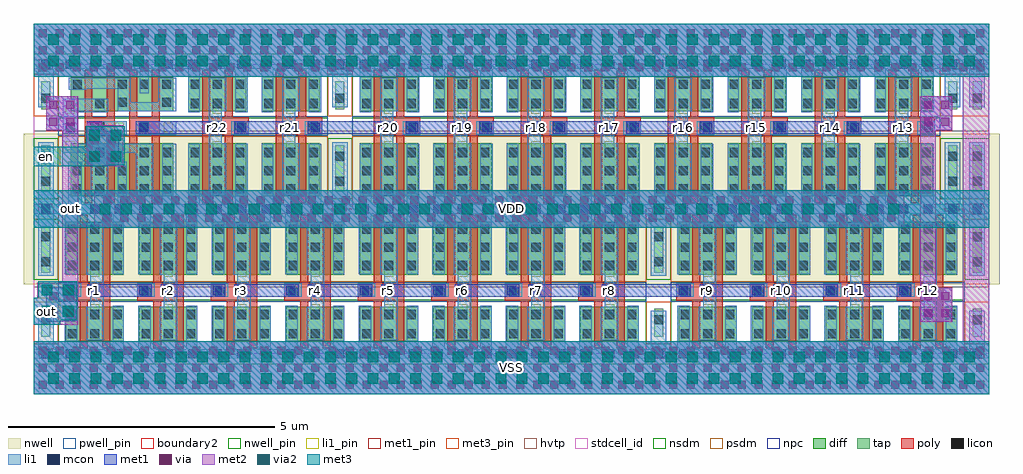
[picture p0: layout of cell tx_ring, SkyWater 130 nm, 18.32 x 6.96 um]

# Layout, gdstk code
from math import pi, radians
import gdstk
lib = gdstk.Library(unit=1e-6, precision=1e-09)
def R(c, l, rs):  # rectangles x0, y0, x1, y1
    for r in rs: c.add(gdstk.rectangle(r[:2], r[2:], *l))
def A(c, l, x, y, w, h, nx, ny, dx, dy):  # array of equal rectangles
    R(c, l, [(x+i*dx, y+j*dy, x+i*dx+w, y+j*dy+h) for i in range(nx) for j in range(ny)])
def P(c, l, *ps):  # polygons
    for p in ps: c.add(gdstk.Polygon(p, *l))
nwell_pin = (64, 16)
nwell = (64, 20)
diff = (65, 20)
tap = (65, 44)
poly = (66, 20)
licon = (66, 44)
li1_pin = (67, 16)
li1 = (67, 20)
mcon = (67, 44)
met1_pin = (68, 16)
met1 = (68, 20)
via = (68, 44)
met2 = (69, 20)
via2 = (69, 44)
met3_pin = (70, 16)
met3 = (70, 20)
hvtp = (78, 44)
stdcell_id = (81, 4)
nsdm = (93, 44)
psdm = (94, 20)
npc = (95, 20)
pwell_pin = (122, 16)
boundary2 = (236, 0)

sky130_fd_sc_hd__tapvpwr = lib.new_cell('sky130_fd_sc_hd__tapvpwrvgnd_1')
R(sky130_fd_sc_hd__tapvpwr, nwell, [(-0.19,1.305,0.65,2.91)])
R(sky130_fd_sc_hd__tapvpwr, tap, [(0.145,0.32,0.315,0.845), (0.145,1.525,0.315,2.4)])
R(sky130_fd_sc_hd__tapvpwr, licon, [(0.145,0.555,0.315,0.725), (0.145,1.645,0.315,1.815), (0.145,2.11,0.315,2.28)])
R(sky130_fd_sc_hd__tapvpwr, li1, [(0,-0.085,0.46,0.085), (0.085,0,0.375,0.81), (0.085,1.47,0.375,2.72), (0,2.635,0.46,2.805)])
R(sky130_fd_sc_hd__tapvpwr, mcon, [(0.145,-0.085,0.315,0.085), (0.145,2.635,0.315,2.805)])
R(sky130_fd_sc_hd__tapvpwr, met1_pin, [(0.105,-0.09,0.36,0.1), (0.11,2.62,0.375,2.765)])
R(sky130_fd_sc_hd__tapvpwr, met1, [(0,-0.24,0.46,0.24), (0,2.48,0.46,2.96)])
R(sky130_fd_sc_hd__tapvpwr, hvtp, [(0,1.25,0.46,2.72)])
R(sky130_fd_sc_hd__tapvpwr, stdcell_id, [(0,0,0.46,2.72)])
R(sky130_fd_sc_hd__tapvpwr, nsdm, [(0,-0.19,0.46,0.19), (0,1.395,0.46,2.53)])
R(sky130_fd_sc_hd__tapvpwr, psdm, [(0,0.19,0.46,0.975), (0,2.53,0.46,2.91)])
sky130_fd_sc_hd__tapvpwr.add(gdstk.Label('VPWR', (0.23,2.72), layer=68, texttype=5))
sky130_fd_sc_hd__tapvpwr.add(gdstk.Label('VGND', (0.23,0), layer=68, texttype=5))
sky130_fd_sc_hd__tapvpwr.add(gdstk.Label('tapvpwrvgnd_1', (0,0), layer=83, texttype=44))

sky130_fd_sc_hd__inv_2 = lib.new_cell('sky130_fd_sc_hd__inv_2')
R(sky130_fd_sc_hd__inv_2, nwell_pin, [(0.145,2.635,0.315,2.805)])
R(sky130_fd_sc_hd__inv_2, nwell, [(-0.19,1.305,1.57,2.91)])
R(sky130_fd_sc_hd__inv_2, diff, [(0.145,0.235,1.235,0.885), (0.145,1.485,1.235,2.485)])
P(sky130_fd_sc_hd__inv_2, poly, [(0.405,0.105),(0.405,0.995),(0.105,0.995),(0.105,1.325),(0.405,1.325),(0.405,2.615),(0.555,2.615),(0.555,1.325),(0.825,1.325),(0.825,2.615),(0.975,2.615),(0.975,0.105),(0.825,0.105),(0.825,0.995),(0.555,0.995),(0.555,0.105)])
A(sky130_fd_sc_hd__inv_2, licon, 0.185, 0.295, 0.17, 0.17, 3, 2, 0.42, 0.36)
A(sky130_fd_sc_hd__inv_2, licon, 0.185, 1.575, 0.17, 0.17, 3, 3, 0.42, 0.34)
R(sky130_fd_sc_hd__inv_2, licon, [(0.185,1.075,0.355,1.245)])
A(sky130_fd_sc_hd__inv_2, li1_pin, 0.605, 0.765, 0.17, 0.17, 1, 3, 0, 0.34)
R(sky130_fd_sc_hd__inv_2, li1_pin, [(0.145,1.105,0.315,1.275)])
R(sky130_fd_sc_hd__inv_2, li1, [(0.105,1.075,0.435,1.325)])
P(sky130_fd_sc_hd__inv_2, li1, [(0.125,1.495),(0.125,2.635),(0,2.635),(0,2.805),(1.38,2.805),(1.38,2.635),(1.235,2.635),(1.235,1.495),(1.025,1.495),(1.025,2.635),(0.355,2.635),(0.355,1.495)],
  [(0.525,0.255),(0.525,0.885),(0.605,0.885),(0.605,1.485),(0.525,1.485),(0.525,2.465),(0.855,2.465),(0.855,0.255)],
  [(0,-0.085),(0,0.085),(0.125,0.085),(0.125,0.905),(0.355,0.905),(0.355,0.085),(1.025,0.085),(1.025,0.905),(1.235,0.905),(1.235,0.085),(1.38,0.085),(1.38,-0.085)])
A(sky130_fd_sc_hd__inv_2, mcon, 0.145, -0.085, 0.17, 0.17, 3, 2, 0.46, 2.72)
R(sky130_fd_sc_hd__inv_2, met1_pin, [(0.145,-0.085,0.315,0.085), (0.145,2.635,0.315,2.805)])
R(sky130_fd_sc_hd__inv_2, hvtp, [(0,1.25,1.38,2.72)])
R(sky130_fd_sc_hd__inv_2, stdcell_id, [(0,0,1.38,2.72)])
R(sky130_fd_sc_hd__inv_2, nsdm, [(0,-0.19,1.38,1.015)])
R(sky130_fd_sc_hd__inv_2, psdm, [(0,1.355,1.38,2.91)])
R(sky130_fd_sc_hd__inv_2, npc, [(0,0.975,1.38,1.345)])
R(sky130_fd_sc_hd__inv_2, pwell_pin, [(0.145,-0.085,0.315,0.085)])
R(sky130_fd_sc_hd__inv_2, boundary2, [(0,0,1.38,2.72)])
sky130_fd_sc_hd__inv_2.add(gdstk.FlexPath([(0,2.72),(1.38,2.72)], 0.48, ends="flush", simple_path=True, layer=68, datatype=20))  # met1
sky130_fd_sc_hd__inv_2.add(gdstk.FlexPath([(0,0),(1.38,0)], 0.48, ends="flush", simple_path=True, layer=68, datatype=20))  # met1
sky130_fd_sc_hd__inv_2.add(gdstk.Label('A', (0.23,1.19), layer=67, texttype=5))
sky130_fd_sc_hd__inv_2.add(gdstk.Label('Y', (0.69,0.85), layer=67, texttype=5))
sky130_fd_sc_hd__inv_2.add(gdstk.Label('Y', (0.69,1.53), layer=67, texttype=5))
sky130_fd_sc_hd__inv_2.add(gdstk.Label('Y', (0.69,1.19), layer=67, texttype=5))
sky130_fd_sc_hd__inv_2.add(gdstk.Label('VNB', (0.23,0), layer=64, texttype=59))
sky130_fd_sc_hd__inv_2.add(gdstk.Label('VPB', (0.23,2.72), layer=64, texttype=5))
sky130_fd_sc_hd__inv_2.add(gdstk.Label('VPWR', (0.23,2.72), layer=68, texttype=5))
sky130_fd_sc_hd__inv_2.add(gdstk.Label('VGND', (0.23,0), layer=68, texttype=5))
sky130_fd_sc_hd__inv_2.add(gdstk.Label('inv_2', (0,0), layer=83, texttype=44))

sky130_fd_sc_hd__nand2_2 = lib.new_cell('sky130_fd_sc_hd__nand2_2')
R(sky130_fd_sc_hd__nand2_2, nwell_pin, [(0.15,2.635,0.32,2.805)])
R(sky130_fd_sc_hd__nand2_2, nwell, [(-0.19,1.305,2.49,2.91)])
R(sky130_fd_sc_hd__nand2_2, diff, [(0.135,0.235,2.065,0.885), (0.135,1.485,2.065,2.485)])
P(sky130_fd_sc_hd__nand2_2, poly, [(1.235,0.105),(1.235,2.615),(1.385,2.615),(1.385,1.325),(1.655,1.325),(1.655,2.615),(1.805,2.615),(1.805,0.105),(1.655,0.105),(1.655,0.995),(1.385,0.995),(1.385,0.105)],
  [(0.395,0.105),(0.395,2.615),(0.545,2.615),(0.545,1.325),(0.815,1.325),(0.815,2.615),(0.965,2.615),(0.965,0.105),(0.815,0.105),(0.815,0.995),(0.545,0.995),(0.545,0.105)])
A(sky130_fd_sc_hd__nand2_2, licon, 0.175, 0.295, 0.17, 0.17, 3, 1, 0.42, 0)
A(sky130_fd_sc_hd__nand2_2, licon, 0.175, 1.915, 0.17, 0.17, 5, 2, 0.42, 0.34)
R(sky130_fd_sc_hd__nand2_2, licon, [(1.855,0.295,2.025,0.465), (0.175,0.635,0.345,0.805), (1.015,0.635,1.185,0.805), (1.435,0.655,1.605,0.825), (0.595,1.075,0.765,1.245), (1.435,1.075,1.605,1.245), (0.175,1.575,0.345,1.745), (0.595,1.575,0.765,1.745), (1.435,1.575,1.605,1.745)])
A(sky130_fd_sc_hd__nand2_2, li1_pin, 0.15, 1.105, 0.17, 0.17, 5, 1, 0.46, 0)
R(sky130_fd_sc_hd__nand2_2, li1_pin, [(1.99,0.765,2.16,0.935), (1.99,1.445,2.16,1.615)])
R(sky130_fd_sc_hd__nand2_2, li1, [(0.085,1.075,0.845,1.325), (1.015,1.075,1.765,1.325)])
P(sky130_fd_sc_hd__nand2_2, li1, [(0,-0.085),(0,0.085),(0.595,0.085),(0.595,0.545),(0.765,0.545),(0.765,0.085),(2.3,0.085),(2.3,-0.085)],
  [(0.085,1.495),(0.085,2.635),(0,2.635),(0,2.805),(2.3,2.805),(2.3,2.635),(2.11,2.635),(2.11,1.835),(1.855,1.835),(1.855,2.635),(1.185,2.635),(1.185,1.835),(1.015,1.835),(1.015,2.635),(0.345,2.635),(0.345,1.495)],
  [(0.085,0.255),(0.085,0.885),(1.185,0.885),(1.185,0.465),(1.775,0.465),(1.775,0.485),(2.105,0.485),(2.105,0.255),(0.935,0.255),(0.935,0.715),(0.425,0.715),(0.425,0.255)],
  [(1.355,0.655),(1.355,0.905),(1.935,0.905),(1.935,1.495),(0.515,1.495),(0.515,2.465),(0.845,2.465),(0.845,1.665),(1.355,1.665),(1.355,2.465),(1.685,2.465),(1.685,1.665),(2.215,1.665),(2.215,0.655)])
A(sky130_fd_sc_hd__nand2_2, mcon, 0.145, -0.085, 0.17, 0.17, 5, 2, 0.46, 2.72)
R(sky130_fd_sc_hd__nand2_2, met1_pin, [(0.15,-0.085,0.32,0.085), (0.15,2.635,0.32,2.805)])
R(sky130_fd_sc_hd__nand2_2, hvtp, [(0,1.25,2.3,2.72)])
R(sky130_fd_sc_hd__nand2_2, stdcell_id, [(0,0,2.3,2.72)])
R(sky130_fd_sc_hd__nand2_2, nsdm, [(0,-0.19,2.3,1.015)])
R(sky130_fd_sc_hd__nand2_2, psdm, [(0,1.355,2.3,2.91)])
R(sky130_fd_sc_hd__nand2_2, npc, [(0,0.975,2.3,1.345)])
R(sky130_fd_sc_hd__nand2_2, pwell_pin, [(0.15,-0.085,0.32,0.085)])
R(sky130_fd_sc_hd__nand2_2, boundary2, [(0,0,2.3,2.72)])
sky130_fd_sc_hd__nand2_2.add(gdstk.FlexPath([(0,2.72),(2.3,2.72)], 0.48, ends="flush", simple_path=True, layer=68, datatype=20))  # met1
sky130_fd_sc_hd__nand2_2.add(gdstk.FlexPath([(0,0),(2.3,0)], 0.48, ends="flush", simple_path=True, layer=68, datatype=20))  # met1
sky130_fd_sc_hd__nand2_2.add(gdstk.Label('Y', (2.075,0.85), layer=67, texttype=5))
sky130_fd_sc_hd__nand2_2.add(gdstk.Label('Y', (2.075,1.19), layer=67, texttype=5))
sky130_fd_sc_hd__nand2_2.add(gdstk.Label('Y', (2.075,1.53), layer=67, texttype=5))
sky130_fd_sc_hd__nand2_2.add(gdstk.Label('A', (1.615,1.19), layer=67, texttype=5))
sky130_fd_sc_hd__nand2_2.add(gdstk.Label('B', (0.695,1.19), layer=67, texttype=5))
sky130_fd_sc_hd__nand2_2.add(gdstk.Label('VNB', (0.23,0), layer=64, texttype=59))
sky130_fd_sc_hd__nand2_2.add(gdstk.Label('VPB', (0.23,2.72), layer=64, texttype=5))
sky130_fd_sc_hd__nand2_2.add(gdstk.Label('VGND', (0.23,0), layer=68, texttype=5))
sky130_fd_sc_hd__nand2_2.add(gdstk.Label('VPWR', (0.23,2.72), layer=68, texttype=5))
sky130_fd_sc_hd__nand2_2.add(gdstk.Label('nand2_2', (0,0), layer=83, texttype=44))

tx_ring = lib.new_cell('tx_ring')
R(tx_ring, mcon, [(0.605,1.105,0.775,1.275), (1.065,1.105,1.235,1.275), (1.985,1.105,2.155,1.275), (2.445,1.105,2.615,1.275), (3.365,1.105,3.535,1.275), (3.825,1.105,3.995,1.275), (4.745,1.105,4.915,1.275), (5.205,1.105,5.375,1.275), (6.125,1.105,6.295,1.275), (6.585,1.105,6.755,1.275), (7.505,1.105,7.675,1.275), (7.965,1.105,8.135,1.275), (8.885,1.105,9.055,1.275), (9.345,1.105,9.515,1.275), (10.265,1.105,10.435,1.275), (10.725,1.105,10.895,1.275), (12.105,1.105,12.275,1.275), (12.565,1.105,12.735,1.275), (13.485,1.105,13.655,1.275), (13.945,1.105,14.115,1.275), (14.865,1.105,15.035,1.275), (15.325,1.105,15.495,1.275), (16.245,1.105,16.415,1.275), (16.705,1.105,16.875,1.275), (0.6,4.165,0.77,4.335), (1.06,4.165,1.23,4.335), (1.98,4.165,2.15,4.335), (3.365,4.165,3.535,4.335), (3.825,4.165,3.995,4.335), (4.745,4.165,4.915,4.335), (5.205,4.165,5.375,4.335), (6.585,4.165,6.755,4.335), (7.045,4.165,7.215,4.335), (7.965,4.165,8.135,4.335), (8.425,4.165,8.595,4.335), (9.345,4.165,9.515,4.335), (9.805,4.165,9.975,4.335), (10.725,4.165,10.895,4.335), (11.185,4.165,11.355,4.335), (12.105,4.165,12.275,4.335), (12.565,4.165,12.735,4.335), (13.485,4.165,13.655,4.335), (13.945,4.165,14.115,4.335), (14.865,4.165,15.035,4.335), (15.325,4.165,15.495,4.335), (16.245,4.165,16.415,4.335), (16.705,4.165,16.875,4.335)])
A(tx_ring, met1, 1.005, 1.075, 1.21, 0.23, 7, 1, 1.38, 0)
A(tx_ring, met1, 12.505, 1.075, 1.21, 0.23, 3, 1, 1.38, 0)
A(tx_ring, met1, 6.985, 4.135, 1.21, 0.23, 7, 1, 1.38, 0)
R(tx_ring, met1, [(0,-0.76,17.94,0.24), (0.24,0.6,0.545,1.24), (0.545,0.6,0.835,1.305), (16.645,0.6,16.935,1.305), (16.935,0.6,17.24,1.24), (10.665,1.075,12.335,1.305), (0,2.37,17.94,3.07), (1.135,2.37,16.345,3.07), (1,3.52,1.29,4.365), (1.29,3.535,1.595,4.175), (0.54,4.135,0.83,4.84), (1.92,4.135,3.595,4.365), (3.765,4.135,4.975,4.365), (5.145,4.135,6.815,4.365), (16.645,4.135,16.935,4.84), (0.235,4.2,0.54,4.84), (16.935,4.2,17.24,4.84), (0,5.2,17.94,6.2)])
A(tx_ring, via, 0.095, -0.655, 0.15, 0.15, 56, 3, 0.32, 0.32)
A(tx_ring, via, 1.305, 2.485, 0.15, 0.15, 47, 2, 0.32, 0.32)
A(tx_ring, via, 0.095, 5.305, 0.15, 0.15, 56, 3, 0.32, 0.32)
R(tx_ring, via, [(0.295,0.685,0.445,0.835), (0.615,0.685,0.765,0.835), (16.715,0.685,16.865,0.835), (17.035,0.685,17.185,0.835), (0.295,1.005,0.445,1.155), (0.615,1.005,0.765,1.155), (16.715,1.005,16.865,1.155), (17.035,1.005,17.185,1.155), (1.07,3.62,1.22,3.77), (1.39,3.62,1.54,3.77), (1.07,3.94,1.22,4.09), (1.39,3.94,1.54,4.09), (0.29,4.285,0.44,4.435), (0.61,4.285,0.76,4.435), (16.715,4.285,16.865,4.435), (17.035,4.285,17.185,4.435), (0.29,4.605,0.44,4.755), (0.61,4.605,0.76,4.755), (16.715,4.605,16.865,4.755), (17.035,4.605,17.185,4.755)])
R(tx_ring, met2, [(0,-0.76,17.94,0.24), (17.44,-0.76,17.94,6.2), (0,0.55,0.835,1.05), (0,0.55,0.5,1.05), (0.54,0.6,0.835,4.84), (16.645,0.6,16.935,2.72), (16.935,0.6,17.24,1.24), (0.24,1.05,0.54,1.24), (1.135,2.37,16.345,3.07), (16.645,2.575,16.935,2.865), (16.645,2.72,16.935,4.84), (1,3.52,1.29,4.35), (1.29,3.535,1.595,4.175), (0.235,4.2,0.54,4.84), (16.935,4.2,17.24,4.84), (0,5.2,17.94,6.2)])
P(tx_ring, met2, [(0.065,1.05),(0.065,1.34),(0.54,1.34),(0.54,1.24),(0.24,1.24),(0.24,1.05)],
  [(1.29,3.52),(1.29,3.535),(1.595,3.535),(1.595,4.175),(1.29,4.175),(1.29,4.29),(1.685,4.29),(1.685,3.52)])
A(tx_ring, via2, 0.27, -0.56, 0.2, 0.2, 44, 2, 0.4, 0.4)
A(tx_ring, via2, 1.24, 2.62, 0.2, 0.2, 38, 1, 0.4, 0)
A(tx_ring, via2, 0.27, 5.4, 0.2, 0.2, 44, 2, 0.4, 0.4)
R(tx_ring, via2, [(0.15,0.7,0.35,0.9), (0.55,0.7,0.75,0.9), (0.15,1.1,0.35,1.3), (0.55,1.1,0.75,1.3), (1.045,3.605,1.245,3.805), (1.445,3.605,1.645,3.805), (1.045,4.005,1.245,4.205), (1.445,4.005,1.645,4.205)])
R(tx_ring, met3_pin, [(0,-0.76,17.94,0.24), (0,0.55,0.5,1.05), (0,2.37,17.94,3.07), (0,3.52,0.5,3.89)])
R(tx_ring, met3, [(0,-0.76,17.94,0.24), (0,0.55,0.5,1.05), (0,2.37,17.94,3.07), (1.135,2.37,16.345,3.07), (0,3.52,1.395,3.89), (0,5.2,17.94,6.2)])
P(tx_ring, met3, [(0.5,0.635),(0.5,1.05),(0.085,1.05),(0.085,1.365),(0.815,1.365),(0.815,0.635)],
  [(1.395,3.54),(1.395,3.89),(0.98,3.89),(0.98,4.27),(1.71,4.27),(1.71,3.54)])
tx_ring.add(gdstk.Reference(sky130_fd_sc_hd__tapvpwr, (0,0)))
tx_ring.add(gdstk.Reference(sky130_fd_sc_hd__inv_2, (0.46,0)))
tx_ring.add(gdstk.Reference(sky130_fd_sc_hd__inv_2, (1.84,0)))
tx_ring.add(gdstk.Reference(sky130_fd_sc_hd__inv_2, (3.22,0)))
tx_ring.add(gdstk.Reference(sky130_fd_sc_hd__inv_2, (4.6,0)))
tx_ring.add(gdstk.Reference(sky130_fd_sc_hd__inv_2, (5.98,0)))
tx_ring.add(gdstk.Reference(sky130_fd_sc_hd__inv_2, (7.36,0)))
tx_ring.add(gdstk.Reference(sky130_fd_sc_hd__inv_2, (8.74,0)))
tx_ring.add(gdstk.Reference(sky130_fd_sc_hd__inv_2, (10.12,0)))
tx_ring.add(gdstk.Reference(sky130_fd_sc_hd__tapvpwr, (11.5,0)))
tx_ring.add(gdstk.Reference(sky130_fd_sc_hd__inv_2, (11.96,0)))
tx_ring.add(gdstk.Reference(sky130_fd_sc_hd__inv_2, (13.34,0)))
tx_ring.add(gdstk.Reference(sky130_fd_sc_hd__inv_2, (14.72,0)))
tx_ring.add(gdstk.Reference(sky130_fd_sc_hd__inv_2, (16.1,0)))
tx_ring.add(gdstk.Reference(sky130_fd_sc_hd__tapvpwr, (17.48,0)))
tx_ring.add(gdstk.Reference(sky130_fd_sc_hd__tapvpwr, (17.94,5.44), rotation=pi))
tx_ring.add(gdstk.Reference(sky130_fd_sc_hd__tapvpwr, (17.48,5.44), rotation=pi))
tx_ring.add(gdstk.Reference(sky130_fd_sc_hd__inv_2, (17.02,5.44), rotation=pi))
tx_ring.add(gdstk.Reference(sky130_fd_sc_hd__inv_2, (15.64,5.44), rotation=pi))
tx_ring.add(gdstk.Reference(sky130_fd_sc_hd__inv_2, (14.26,5.44), rotation=pi))
tx_ring.add(gdstk.Reference(sky130_fd_sc_hd__inv_2, (12.88,5.44), rotation=pi))
tx_ring.add(gdstk.Reference(sky130_fd_sc_hd__inv_2, (11.5,5.44), rotation=pi))
tx_ring.add(gdstk.Reference(sky130_fd_sc_hd__inv_2, (10.12,5.44), rotation=pi))
tx_ring.add(gdstk.Reference(sky130_fd_sc_hd__inv_2, (8.74,5.44), rotation=pi))
tx_ring.add(gdstk.Reference(sky130_fd_sc_hd__inv_2, (7.36,5.44), rotation=pi))
tx_ring.add(gdstk.Reference(sky130_fd_sc_hd__tapvpwr, (5.98,5.44), rotation=pi))
tx_ring.add(gdstk.Reference(sky130_fd_sc_hd__inv_2, (5.52,5.44), rotation=pi))
tx_ring.add(gdstk.Reference(sky130_fd_sc_hd__inv_2, (4.14,5.44), rotation=pi))
tx_ring.add(gdstk.Reference(sky130_fd_sc_hd__nand2_2, (2.76,5.44), rotation=pi))
tx_ring.add(gdstk.Reference(sky130_fd_sc_hd__tapvpwr, (0.46,5.44), rotation=pi))
tx_ring.add(gdstk.Label('r1', (1.15,1.19), layer=67, texttype=5))
tx_ring.add(gdstk.Label('r2', (2.53,1.19), layer=67, texttype=5))
tx_ring.add(gdstk.Label('r3', (3.91,1.19), layer=67, texttype=5))
tx_ring.add(gdstk.Label('r4', (5.29,1.19), layer=67, texttype=5))
tx_ring.add(gdstk.Label('r5', (6.67,1.19), layer=67, texttype=5))
tx_ring.add(gdstk.Label('r6', (8.05,1.19), layer=67, texttype=5))
tx_ring.add(gdstk.Label('r7', (9.43,1.19), layer=67, texttype=5))
tx_ring.add(gdstk.Label('r8', (10.81,1.19), layer=67, texttype=5))
tx_ring.add(gdstk.Label('r9', (12.65,1.19), layer=67, texttype=5))
tx_ring.add(gdstk.Label('r10', (14.03,1.19), layer=67, texttype=5))
tx_ring.add(gdstk.Label('r11', (15.41,1.19), layer=67, texttype=5))
tx_ring.add(gdstk.Label('r12', (16.79,1.19), layer=67, texttype=5))
tx_ring.add(gdstk.Label('r13', (16.33,4.25), layer=67, texttype=5))
tx_ring.add(gdstk.Label('r14', (14.95,4.25), layer=67, texttype=5))
tx_ring.add(gdstk.Label('r15', (13.57,4.25), layer=67, texttype=5))
tx_ring.add(gdstk.Label('r16', (12.19,4.25), layer=67, texttype=5))
tx_ring.add(gdstk.Label('r17', (10.81,4.25), layer=67, texttype=5))
tx_ring.add(gdstk.Label('r18', (9.43,4.25), layer=67, texttype=5))
tx_ring.add(gdstk.Label('r19', (8.05,4.25), layer=67, texttype=5))
tx_ring.add(gdstk.Label('r20', (6.67,4.25), layer=67, texttype=5))
tx_ring.add(gdstk.Label('r21', (4.83,4.25), layer=67, texttype=5))
tx_ring.add(gdstk.Label('r22', (3.45,4.25), layer=67, texttype=5))
tx_ring.add(gdstk.Label('out', (0.25,0.8), layer=70, texttype=5))
tx_ring.add(gdstk.Label('en', (0.25,3.705), layer=70, texttype=5))
tx_ring.add(gdstk.Label('VSS', (8.97,-0.26), layer=70, texttype=5))
tx_ring.add(gdstk.Label('VDD', (8.97,2.72), layer=70, texttype=5))
tx_ring.add(gdstk.Label('out', (0.688,2.72), layer=69, texttype=5))

lib.write_gds('tx_ring.gds')
